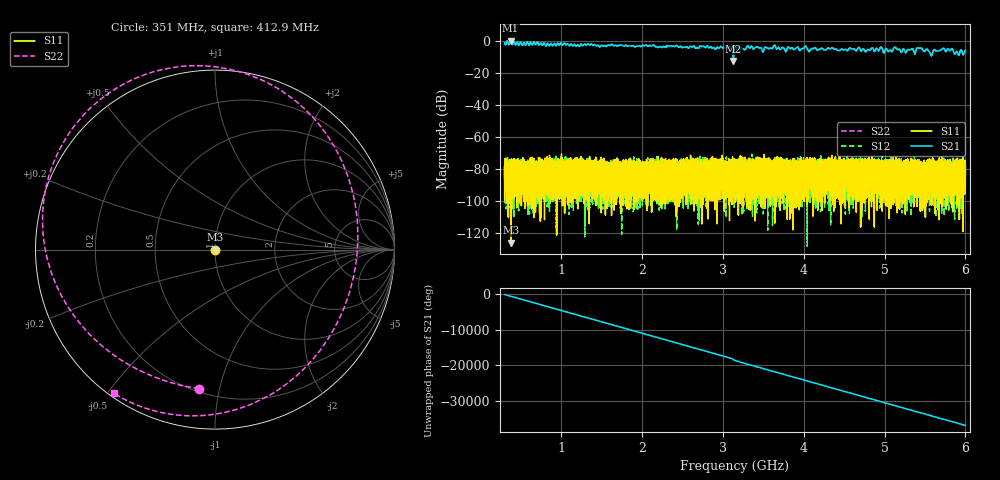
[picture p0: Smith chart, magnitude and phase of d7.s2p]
!Agilent Technologies,N5230C,SG49000117,A.08.50.07
!Agilent N5230C: A.08.50.07
!Date: Sunday, March 17, 2024 02:28:12
!Correction: S11(Off)
!S21(Off)
!S12(Off)
!S22(Off)
!S2P File: Measurements: S11, S21, S12, S22:
# Hz S  RI  R 50
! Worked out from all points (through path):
!   20001 points, 300 MHz to 6 GHz, reference 50 ohm
!   highest |S21| = 0.43 dB at 373.2 MHz (marker M1); lowest = -12.5 dB at 3.13 GHz (marker M2)
!   lowest |S11| = -126.1 dB at 379.5 MHz (marker M3), VSWR 1.00, Z = 50 - j2.48e-05 ohm
!   |S11| at or under -10 dB: start of sweep to end of sweep
!   |S22| runs from -12.4 to 0.5 dB; largest |S21 - S12| = 1.1
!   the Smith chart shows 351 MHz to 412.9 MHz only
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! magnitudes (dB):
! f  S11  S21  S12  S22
! 300 MHz  -99.5  -1.0  -82.9  -1.0
! 373.2 MHz  -84.7  0.4  -88.8  0.5
! 379.5 MHz  -126.1  -0.2  -101.4  -0.2
! 1.25 GHz  -85.4  -1.8  -83.9  -1.8
! 2.2 GHz  -78.4  -4.1  -81.3  -4.1
! 3.073 GHz  -96.6  -3.8  -89.0  -3.8
! 3.13 GHz  -86.1  -12.5  -88.9  -12.4
! 3.15 GHz  -89.6  -4.0  -83.3  -4.0
! 3.17 GHz  -82.6  -4.4  -91.3  -4.4
! 3.328 GHz  -95.9  -4.3  -94.0  -4.3
! 3.483 GHz  -85.5  -5.2  -104.5  -5.1
! 3.632 GHz  -77.5  -2.9  -80.9  -2.8
! 3.772 GHz  -76.5  -6.2  -79.9  -6.1
! 4.1 GHz  -83.8  -4.5  -78.5  -4.4
! 5.05 GHz  -81.4  -6.4  -77.8  -6.4
! 5.134 GHz  -81.1  -3.8  -76.0  -3.8
! 5.368 GHz  -88.7  -7.7  -83.2  -7.7
! 5.428 GHz  -78.3  -4.4  -93.1  -4.4
! 5.571 GHz  -85.1  -8.4  -78.1  -8.4
! 5.718 GHz  -76.8  -4.9  -77.0  -4.9
! 5.895 GHz  -86.5  -6.4  -78.7  -6.4
! 6 GHz  -77.9  -5.8  -84.1  -5.9
